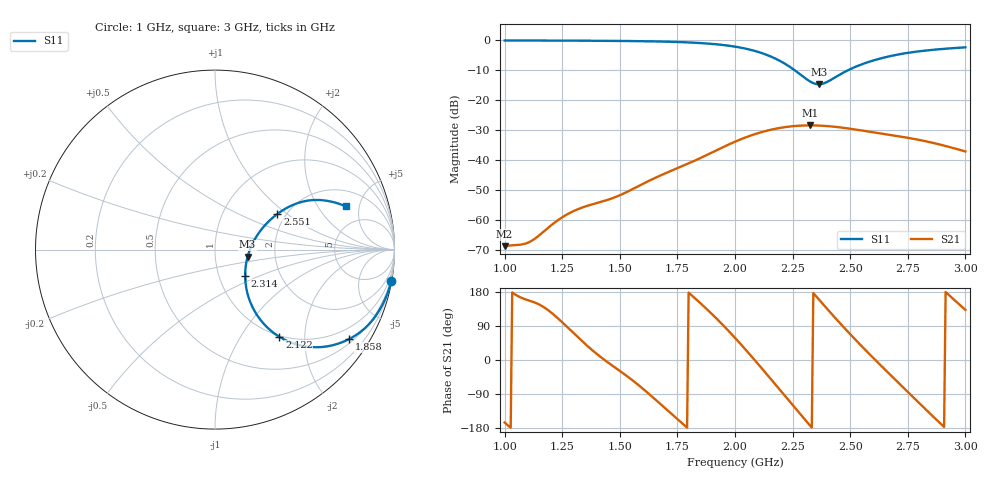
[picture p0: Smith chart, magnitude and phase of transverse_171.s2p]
! TOUCHSTONE file generated by CST MICROWAVE STUDIO
! Date and time: Tue Mar 11 13:57:21 2025
! Project name: transverse.cst
! Parameters = {Fracture=1; B=10; D=160; F=25; Feed=2.85625; L=100; M=10; R=0.384908; S=2; Theta=180; length=57.125; wave=114.25}
! Header version: 2024
! Port assignment regex: !\s*Touchstone port\s*([0-9]+)\s*=\s*(CST MWS port|CST DES external port|CST DES block port)\s*(.+)\s* \(\"(.*)\"\)(\s*mode\s*([0-9]+))?.*
! Touchstone port assignment:
! Touchstone port 1 = CST MWS port 1 ("")
! Touchstone port 2 = CST MWS port 2 ("")
# GHz S MA R 50
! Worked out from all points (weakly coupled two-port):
!   304 points, 1 GHz to 3 GHz, reference 50 ohm
!   highest |S21| = -28.33 dB at 2.327 GHz (marker M1); lowest = -68.6 dB at 1 GHz (marker M2)
!   lowest |S11| = -14.6 dB at 2.366 GHz (marker M3), VSWR 1.46, Z = 71.9 - j5.96 ohm
!   |S11| at or under -10 dB: 2.26 GHz to 2.489 GHz (228.9 MHz wide, 9.64 % of centre)
!   S12 and S22 are empty: the file has one direction only
!   S11 on the Smith chart (normalised r, x): 1 GHz: 0, -11; 1.858 GHz: 0.62, -3.20; 2.122 GHz: 0.98, -1.50; 2.314 GHz: 1.33, -0.41; 2.551 GHz: 1.81, +0.86; 3 GHz: 3.13, +3.64
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1  0.9978 -10.0  0.0003726 -164.9  0 0.0  0 0.0
1.07261  0.9967 -11.0  0.0003966 164.2  0 0.0  0 0.0
1.10561  0.9961 -11.5  0.0004332 157.0  0 0.0  0 0.0
1.24422  0.9927 -13.8  0.001091 102.9  0 0.0  0 0.0
1.33663  0.989 -15.5  0.001639 49.6  0 0.0  0 0.0
1.48845  0.9802 -18.9  0.002518 -23.8  0 0.0  0 0.0
1.66667  0.9601 -24.4  0.005401 -110.9  0 0.0  0 0.0
1.85809  0.8985 -33.7  0.01134 145.3  0 0.0  0 0.0
2.0033  0.7835 -44.0  0.02077 56.3  0 0.0  0 0.0
2.06271  0.7047 -48.9  0.02554 15.8  0 0.0  0 0.0
2.12211  0.6037 -53.6  0.03014 -26.2  0 0.0  0 0.0
2.21452  0.4133 -57.3  0.03576 -93.0  0 0.0  0 0.0
2.31353  0.2219 -40.8  0.03831 -164.4  0 0.0  0 0.0
2.32673  0.2058 -34.9  0.03835 -173.8  0 0.0  0 0.0
2.33993  0.1942 -28.0  0.03831 176.8  0 0.0  0 0.0
2.36634  0.186 -12.4  0.03804 158.2  0 0.0  0 0.0
2.39934  0.2029 5.2  0.03737 135.3  0 0.0  0 0.0
2.45215  0.2651 21.4  0.03568 99.5  0 0.0  0 0.0
2.55116  0.4006 29.7  0.03151 35.7  0 0.0  0 0.0
2.66997  0.5431 29.0  0.02672 -36.6  0 0.0  0 0.0
2.83498  0.6825 23.4  0.02059 -134.7  0 0.0  0 0.0
3  0.7662 18.3  0.01411 132.3  0 0.0  0 0.0
